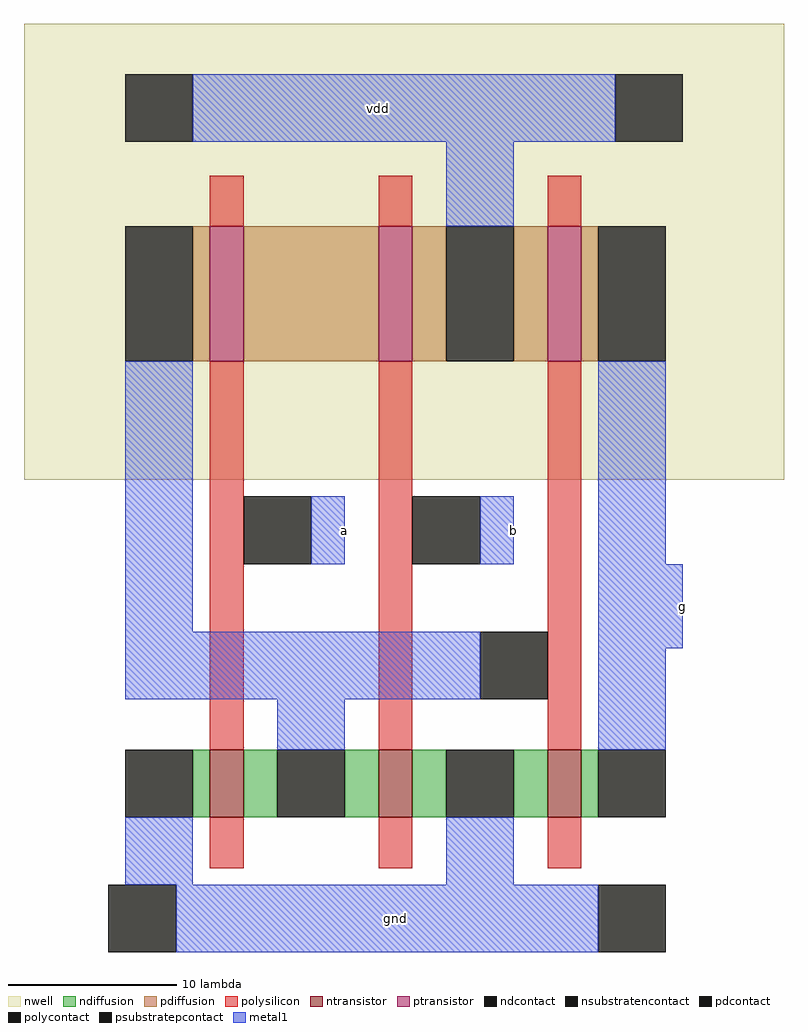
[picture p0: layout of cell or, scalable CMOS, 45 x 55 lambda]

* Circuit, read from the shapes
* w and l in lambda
.subckt or a b g gnd vdd
M1 n1 a gnd gnd nfet w=4 l=2
M2 gnd b n1 gnd nfet w=4 l=2
M3 g n1 gnd gnd nfet w=4 l=2
M4 n2 a n1 vdd pfet w=8 l=2
M5 vdd b n2 vdd pfet w=8 l=2
M6 g n1 vdd vdd pfet w=8 l=2
.ends

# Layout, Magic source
magic
tech scmos
<< nwell >>
rect -27 0 18 27
<< ntransistor >>
rect -16 -20 -14 -16
rect -6 -20 -4 -16
rect 4 -20 6 -16
<< ptransistor >>
rect -16 7 -14 15
rect -6 7 -4 15
rect 4 7 6 15
<< ndiffusion >>
rect -17 -20 -16 -16
rect -14 -20 -12 -16
rect -8 -20 -6 -16
rect -4 -20 -2 -16
rect 2 -20 4 -16
rect 6 -20 7 -16
<< pdiffusion >>
rect -17 7 -16 15
rect -14 7 -6 15
rect -4 7 -2 15
rect 2 7 4 15
rect 6 7 7 15
<< ndcontact >>
rect -21 -20 -17 -16
rect -12 -20 -8 -16
rect -2 -20 2 -16
rect 7 -20 11 -16
<< pdcontact >>
rect -21 7 -17 15
rect -2 7 2 15
rect 7 7 11 15
<< psubstratepcontact >>
rect -22 -28 -18 -24
rect 7 -28 11 -24
<< nsubstratencontact >>
rect -21 20 -17 24
rect 8 20 12 24
<< polysilicon >>
rect -16 15 -14 18
rect -6 15 -4 18
rect 4 15 6 18
rect -16 -16 -14 7
rect -6 -16 -4 7
rect 4 -16 6 7
rect -16 -23 -14 -20
rect -6 -23 -4 -20
rect 4 -23 6 -20
<< polycontact >>
rect -14 -5 -10 -1
rect -4 -5 0 -1
rect 0 -13 4 -9
<< metal1 >>
rect -17 20 8 24
rect -2 15 2 20
rect -21 -9 -17 7
rect -10 -5 -8 -1
rect 0 -5 2 -1
rect 7 -5 11 7
rect -21 -13 0 -9
rect 7 -10 12 -5
rect -12 -16 -8 -13
rect 7 -16 11 -10
rect -21 -24 -17 -20
rect -2 -24 2 -20
rect -18 -28 7 -24
<< labels >>
rlabel metal1 12 -10 12 -5 1 g
rlabel metal1 -5 -26 -5 -26 1 gnd
rlabel metal1 -8 -5 -8 -1 1 a
rlabel metal1 2 -5 2 -1 1 b
rlabel metal1 -6 22 -6 22 5 vdd
<< end >>
